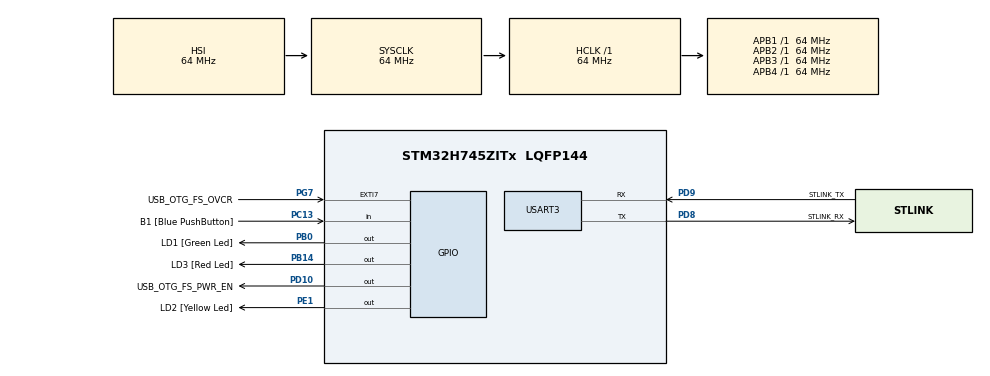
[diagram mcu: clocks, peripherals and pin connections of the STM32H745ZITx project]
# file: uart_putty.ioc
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CortexM4.IPs=FATFS_M4\:I,FREERTOS_M4\:I,IWDG2\:I,RCC,WWDG2\:I,DMA,BDMA,MDMA,NVIC2\:I,ETH,DEBUG,PDM2PCM_M4\:I,PWR,RESMGR_UTILITY,SYS_M4\:I,USB_DEVICE_M4\:I,USB_HOST_M4\:I,CORTEX_M4\:I,OPENAMP_M4\:I,VREFBUF
CortexM7.IPs=FATFS_M7\:I,FREERTOS_M7\:I,IWDG1\:I,RCC\:I,WWDG1\:I,DMA\:I,BDMA\:I,MDMA\:I,NVIC1\:I,SYS\:I,USART3\:I,USB_OTG_FS\:I,ETH\:I,CORTEX_M7\:I,DEBUG\:I,PDM2PCM_M7\:I,PWR\:I,RESMGR_UTILITY\:I,USB_DEVICE_M7\:I,USB_HOST_M7\:I,OPENAMP_M7\:I,VREFBUF\:I
Mcu.Family=STM32H7
Mcu.Name=STM32H745ZITx
Mcu.Package=LQFP144
NVIC1.PriorityGroup=NVIC_PRIORITYGROUP_4
NVIC2.PriorityGroup=NVIC_PRIORITYGROUP_4
PA1.PinAttribute=CortexM7
PA1.Signal=ETH_REF_CLK
PA11.PinAttribute=CortexM7
PA11.Signal=USB_OTG_FS_DM
PA12.PinAttribute=CortexM7
PA12.Signal=USB_OTG_FS_DP
PA2.PinAttribute=CortexM7
PA2.Signal=ETH_MDIO
PA7.PinAttribute=CortexM7
PA7.Signal=ETH_CRS_DV
PA8.PinAttribute=CortexM7
PA8.Signal=USB_OTG_FS_SOF
PA9.PinAttribute=CortexM7
PA9.Signal=USB_OTG_FS_VBUS
PB0.GPIO_Label=LD1 [Green Led]
PB0.PinAttribute=Free
PB0.Signal=GPIO_Output
PB13.PinAttribute=CortexM7
PB13.Signal=ETH_TXD1
PB14.GPIO_Label=LD3 [Red Led]
PB14.PinAttribute=Free
PB14.Signal=GPIO_Output
PC1.PinAttribute=CortexM7
PC1.Signal=ETH_MDC
PC13.GPIO_Label=B1 [Blue PushButton]
PC13.PinAttribute=Free
PC13.Signal=GPIO_Input
PC14-OSC32_IN\ (OSC32_IN).PinAttribute=CortexM7
PC14-OSC32_IN\ (OSC32_IN).Signal=RCC_OSC32_IN
PC15-OSC32_OUT\ (OSC32_OUT).PinAttribute=CortexM7
PC15-OSC32_OUT\ (OSC32_OUT).Signal=RCC_OSC32_OUT
PC4.PinAttribute=CortexM7
PC4.Signal=ETH_RXD0
PC5.PinAttribute=CortexM7
PC5.Signal=ETH_RXD1
PD10.GPIO_Label=USB_OTG_FS_PWR_EN
PD10.PinAttribute=Free
PD10.Signal=GPIO_Output
PD8.GPIO_Label=STLINK_RX
PD8.Mode=Asynchronous
PD8.PinAttribute=CortexM7
PD8.Signal=USART3_TX
PD9.GPIO_Label=STLINK_TX
PD9.Mode=Asynchronous
PD9.PinAttribute=CortexM7
PD9.Signal=USART3_RX
PE1.GPIO_Label=LD2 [Yellow Led]
PE1.PinAttribute=Free
PE1.Signal=GPIO_Output
PG11.PinAttribute=CortexM7
PG11.Signal=ETH_TX_EN
PG13.PinAttribute=CortexM7
PG13.Signal=ETH_TXD0
PG7.GPIO_Label=USB_OTG_FS_OVCR
PG7.PinAttribute=Free
PG7.Signal=GPXTI7
PH0-OSC_IN\ (PH0).PinAttribute=CortexM7
PH0-OSC_IN\ (PH0).Signal=RCC_OSC_IN
PH1-OSC_OUT\ (PH1).PinAttribute=CortexM7
PH1-OSC_OUT\ (PH1).Signal=RCC_OSC_OUT
ProjectManager.HeapSize=0x200
ProjectManager.StackSize=0x400
ProjectManager.TargetToolchain=STM32CubeIDE
RCC.ADCFreq_Value=129000000
RCC.APB1Freq_Value=64000000
RCC.APB2Freq_Value=64000000
RCC.APB3Freq_Value=64000000
RCC.APB4Freq_Value=64000000
RCC.CortexFreq_Value=64000000
RCC.DIVM1=18
RCC.DIVM3=22
RCC.DIVN3=169
RCC.DIVQ3=4
RCC.HCLKFreq_Value=64000000
RCC.PLL2FRACN=0
RCC.PLL3FRACN=0
RCC.PLLFRACN=0
RCC.SYSCLKFreq_VALUE=64000000
RCC.SupplySource=PWR_DIRECT_SMPS_SUPPLY
RCC.USBCLockSelection=RCC_USBCLKSOURCE_PLL3
RCC.USBFreq_Value=122909090.9090909
USART3.VirtualMode-Asynchronous=VM_ASYNC
VP_SYS_M4_VS_Systick.Mode=SysTick
board=NUCLEO-H745ZI-Q

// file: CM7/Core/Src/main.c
/* USER CODE BEGIN Header */
/**
 ******************************************************************************
 * @file           : main.c
 * @brief          : Main program body
 ******************************************************************************
 * @attention
 *
 * <h2><center>&copy; Copyright (c) 2022 STMicroelectronics.
 * All rights reserved.</center></h2>
 *
 * This software component is licensed by ST under BSD 3-Clause license,
 * the "License"; You may not use this file except in compliance with the
 * License. You may obtain a copy of the License at:
 *                        opensource.org/licenses/BSD-3-Clause
 *
 ******************************************************************************
 */
/* USER CODE END Header */
#include "main.h"

/* USER CODE BEGIN Includes */
#include <stdio.h>
/* USER CODE END Includes */

/* USER CODE BEGIN PD */

#ifndef HSEM_ID_0
#define HSEM_ID_0 (0U) /* HW semaphore 0*/
#endif
/* USER CODE END PD */

UART_HandleTypeDef huart3;

/* USER CODE BEGIN PV */
char snprintf_buf[128];
/* USER CODE END PV */

void SystemClock_Config(void);
static void MX_GPIO_Init(void);
static void MX_USART3_UART_Init(void);
/* USER CODE BEGIN PFP */
// #include "stdio.h"

#undef PUTCHAR_PROTOTYPE
#undef GETCHAR_PROTOTYPE
#ifdef __GNUC__
#define PUTCHAR_PROTOTYPE int __io_putchar(int ch)
#define GETCHAR_PROTOTYPE int __io_getchar(FILE *f)
#else
#define PUTCHAR_PROTOTYPE int fputc(int ch, FILE *f)
#define GETCHAR_PROTOTYPE int fgetc(FILE *f)
#endif

// HAL库
PUTCHAR_PROTOTYPE {
    HAL_UART_Transmit(&huart3, (uint8_t *)&ch, 1, HAL_MAX_DELAY);
    return ch;
}

GETCHAR_PROTOTYPE {
    uint8_t ch;
    HAL_UART_Receive(&huart3, (uint8_t *)&ch, 1, HAL_MAX_DELAY);
    return ch;
}
/* USER CODE END PFP */

int main(void) {
    /* USER CODE BEGIN Boot_Mode_Sequence_0 */
    int32_t timeout;
    /* USER CODE END Boot_Mode_Sequence_0 */

    /* USER CODE BEGIN Boot_Mode_Sequence_1 */
    /* Wait until CPU2 boots and enters in stop mode or timeout*/
    timeout = 0xFFFF;
    while ((__HAL_RCC_GET_FLAG(RCC_FLAG_D2CKRDY) != RESET) && (timeout-- > 0))
        ;
    if (timeout < 0) {
        Error_Handler();
    }
    /* USER CODE END Boot_Mode_Sequence_1 */
    /* MCU Configuration--------------------------------------------------------*/

    /* Reset of all peripherals, Initializes the Flash interface and the Systick. */
    HAL_Init();

    /* Configure the system clock */
    SystemClock_Config();
    /* USER CODE BEGIN Boot_Mode_Sequence_2 */
    /* When system initialization is finished, Cortex-M7 will release Cortex-M4 by means of
    HSEM notification */
    /*HW semaphore Clock enable*/
    __HAL_RCC_HSEM_CLK_ENABLE();
    /*Take HSEM */
    HAL_HSEM_FastTake(HSEM_ID_0);
    /*Release HSEM in order to notify the CPU2(CM4)*/
    HAL_HSEM_Release(HSEM_ID_0, 0);
    /* wait until CPU2 wakes up from stop mode */
    timeout = 0xFFFF;
    while ((__HAL_RCC_GET_FLAG(RCC_FLAG_D2CKRDY) == RESET) && (timeout-- > 0))
        ;
    if (timeout < 0) {
        Error_Handler();
    }
    /* USER CODE END Boot_Mode_Sequence_2 */

    /* Initialize all configured peripherals */
    MX_GPIO_Init();
    MX_USART3_UART_Init();

    /* Infinite loop */
    /* USER CODE BEGIN WHILE */
    HAL_UART_Transmit(&huart3, (uint8_t *)"Hello World !\r\n", sizeof("Hello World !\r\n") - 1,
                      HAL_MAX_DELAY);
    uint32_t expected_tick = HAL_GetTick() + 1000;
    uint32_t sec = 0;
    uint8_t rb;
    uint8_t test[10];
    uint32_t nbytes;
    char c[30];
    while (1) {
        /* USER CODE END WHILE */

        /* USER CODE BEGIN 3 */
        // if (scanf("%s", &c)) {
        //     expected_tick = HAL_GetTick() + 1000;
        //     sec = 0;
        //     printf("%s %s\r\n", "gecha: ", &c);
        //     printf("TIME RESET\r\n");
        // }

        // if (HAL_OK == HAL_UART_Receive(&huart3, &rb, 1, 100)) {
        if (HAL_OK == HAL_UART_Receive(&huart3, test, 1, 100)) {
            expected_tick = HAL_GetTick() + 1000;
            sec = 0;
            char tmp[10];
            snprintf(tmp, "%d", test);
            /*nbytes = snprintf(snprintf_buf, sizeof(snprintf_buf), "TIME RESET %c !\r\n", rb);
             HAL_UART_Transmit(&huart3, (uint8_t*)snprintf_buf, nbytes, HAL_MAX_DELAY);*/
            HAL_UART_Transmit(&huart3, (uint8_t *)"gecha: ", sizeof("gecha: ") - 1, HAL_MAX_DELAY);
            printf(tmp);
            //            HAL_UART_Transmit(&huart3, (uint8_t *)rb, 1, HAL_MAX_DELAY);
            HAL_UART_Transmit(&huart3, (uint8_t *)"TIME RESET\r\n", sizeof("TIME RESET\r\n") - 1,
                              HAL_MAX_DELAY);
        }
        if (HAL_GetTick() > expected_tick) {
            sec++;
            // nbytes = snprintf(snprintf_buf, sizeof(snprintf_buf),
            //                   "This program runs since %lu seconds ago\r\n", sec);
            printf("This program runs since %lu seconds ago\r\n", sec);
            // HAL_UART_Transmit(&huart3, (uint8_t *)snprintf_buf, nbytes, HAL_MAX_DELAY);
            expected_tick += 1000;
        }
    }
    /* USER CODE END 3 */
}

void SystemClock_Config(void) {
    RCC_OscInitTypeDef RCC_OscInitStruct = {0};
    RCC_ClkInitTypeDef RCC_ClkInitStruct = {0};
    RCC_PeriphCLKInitTypeDef PeriphClkInitStruct = {0};

    /** Supply configuration update enable
     */
    HAL_PWREx_ConfigSupply(PWR_DIRECT_SMPS_SUPPLY);
    /** Configure the main internal regulator output voltage
     */
    __HAL_PWR_VOLTAGESCALING_CONFIG(PWR_REGULATOR_VOLTAGE_SCALE3);

    while (!__HAL_PWR_GET_FLAG(PWR_FLAG_VOSRDY)) {
    }
    /** Initializes the RCC Oscillators according to the specified parameters
     * in the RCC_OscInitTypeDef structure.
     */
    RCC_OscInitStruct.OscillatorType = RCC_OSCILLATORTYPE_HSI;
    RCC_OscInitStruct.HSIState = RCC_HSI_DIV1;
    RCC_OscInitStruct.HSICalibrationValue = RCC_HSICALIBRATION_DEFAULT;
    RCC_OscInitStruct.PLL.PLLState = RCC_PLL_NONE;
    if (HAL_RCC_OscConfig(&RCC_OscInitStruct) != HAL_OK) {
        Error_Handler();
    }
    /** Initializes the CPU, AHB and APB buses clocks
     */
    RCC_ClkInitStruct.ClockType = RCC_CLOCKTYPE_HCLK | RCC_CLOCKTYPE_SYSCLK | RCC_CLOCKTYPE_PCLK1 |
                                  RCC_CLOCKTYPE_PCLK2 | RCC_CLOCKTYPE_D3PCLK1 |
                                  RCC_CLOCKTYPE_D1PCLK1;
    RCC_ClkInitStruct.SYSCLKSource = RCC_SYSCLKSOURCE_HSI;
    RCC_ClkInitStruct.SYSCLKDivider = RCC_SYSCLK_DIV1;
    RCC_ClkInitStruct.AHBCLKDivider = RCC_HCLK_DIV1;
    RCC_ClkInitStruct.APB3CLKDivider = RCC_APB3_DIV1;
    RCC_ClkInitStruct.APB1CLKDivider = RCC_APB1_DIV1;
    RCC_ClkInitStruct.APB2CLKDivider = RCC_APB2_DIV1;
    RCC_ClkInitStruct.APB4CLKDivider = RCC_APB4_DIV1;

    if (HAL_RCC_ClockConfig(&RCC_ClkInitStruct, FLASH_LATENCY_0) != HAL_OK) {
        Error_Handler();
    }
    PeriphClkInitStruct.PeriphClockSelection = RCC_PERIPHCLK_USART3;
    PeriphClkInitStruct.Usart234578ClockSelection = RCC_USART234578CLKSOURCE_D2PCLK1;
    if (HAL_RCCEx_PeriphCLKConfig(&PeriphClkInitStruct) != HAL_OK) {
        Error_Handler();
    }
}

static void MX_USART3_UART_Init(void) {

    huart3.Instance = USART3;
    huart3.Init.BaudRate = 115200;
    huart3.Init.WordLength = UART_WORDLENGTH_8B;
    huart3.Init.StopBits = UART_STOPBITS_1;
    huart3.Init.Parity = UART_PARITY_NONE;
    huart3.Init.Mode = UART_MODE_TX_RX;
    huart3.Init.HwFlowCtl = UART_HWCONTROL_NONE;
    huart3.Init.OverSampling = UART_OVERSAMPLING_16;
    huart3.Init.OneBitSampling = UART_ONE_BIT_SAMPLE_DISABLE;
    huart3.Init.ClockPrescaler = UART_PRESCALER_DIV1;
    huart3.AdvancedInit.AdvFeatureInit = UART_ADVFEATURE_NO_INIT;
    if (HAL_UART_Init(&huart3) != HAL_OK) {
        Error_Handler();
    }
    if (HAL_UARTEx_SetTxFifoThreshold(&huart3, UART_TXFIFO_THRESHOLD_1_8) != HAL_OK) {
        Error_Handler();
    }
    if (HAL_UARTEx_SetRxFifoThreshold(&huart3, UART_RXFIFO_THRESHOLD_1_8) != HAL_OK) {
        Error_Handler();
    }
    if (HAL_UARTEx_DisableFifoMode(&huart3) != HAL_OK) {
        Error_Handler();
    }
}

static void MX_GPIO_Init(void) {
    GPIO_InitTypeDef GPIO_InitStruct = {0};

    /* GPIO Ports Clock Enable */
    __HAL_RCC_GPIOC_CLK_ENABLE();
    __HAL_RCC_GPIOH_CLK_ENABLE();
    __HAL_RCC_GPIOA_CLK_ENABLE();
    __HAL_RCC_GPIOB_CLK_ENABLE();
    __HAL_RCC_GPIOD_CLK_ENABLE();
    __HAL_RCC_GPIOG_CLK_ENABLE();

    /*Configure GPIO pins : PC1 PC4 PC5 */
    GPIO_InitStruct.Pin = GPIO_PIN_1 | GPIO_PIN_4 | GPIO_PIN_5;
    GPIO_InitStruct.Mode = GPIO_MODE_AF_PP;
    GPIO_InitStruct.Pull = GPIO_NOPULL;
    GPIO_InitStruct.Speed = GPIO_SPEED_FREQ_LOW;
    GPIO_InitStruct.Alternate = GPIO_AF11_ETH;
    HAL_GPIO_Init(GPIOC, &GPIO_InitStruct);

    /*Configure GPIO pins : PA1 PA2 PA7 */
    GPIO_InitStruct.Pin = GPIO_PIN_1 | GPIO_PIN_2 | GPIO_PIN_7;
    GPIO_InitStruct.Mode = GPIO_MODE_AF_PP;
    GPIO_InitStruct.Pull = GPIO_NOPULL;
    GPIO_InitStruct.Speed = GPIO_SPEED_FREQ_LOW;
    GPIO_InitStruct.Alternate = GPIO_AF11_ETH;
    HAL_GPIO_Init(GPIOA, &GPIO_InitStruct);

    /*Configure GPIO pin : PB13 */
    GPIO_InitStruct.Pin = GPIO_PIN_13;
    GPIO_InitStruct.Mode = GPIO_MODE_AF_PP;
    GPIO_InitStruct.Pull = GPIO_NOPULL;
    GPIO_InitStruct.Speed = GPIO_SPEED_FREQ_LOW;
    GPIO_InitStruct.Alternate = GPIO_AF11_ETH;
    HAL_GPIO_Init(GPIOB, &GPIO_InitStruct);

    /*Configure GPIO pins : PA8 PA11 PA12 */
    GPIO_InitStruct.Pin = GPIO_PIN_8 | GPIO_PIN_11 | GPIO_PIN_12;
    GPIO_InitStruct.Mode = GPIO_MODE_AF_PP;
    GPIO_InitStruct.Pull = GPIO_NOPULL;
    GPIO_InitStruct.Speed = GPIO_SPEED_FREQ_LOW;
    GPIO_InitStruct.Alternate = GPIO_AF10_OTG1_FS;
    HAL_GPIO_Init(GPIOA, &GPIO_InitStruct);

    /*Configure GPIO pins : PG11 PG13 */
    GPIO_InitStruct.Pin = GPIO_PIN_11 | GPIO_PIN_13;
    GPIO_InitStruct.Mode = GPIO_MODE_AF_PP;
    GPIO_InitStruct.Pull = GPIO_NOPULL;
    GPIO_InitStruct.Speed = GPIO_SPEED_FREQ_LOW;
    GPIO_InitStruct.Alternate = GPIO_AF11_ETH;
    HAL_GPIO_Init(GPIOG, &GPIO_InitStruct);
}

void Error_Handler(void) {
    __disable_irq();
    while (1) {
    }
}

/************************ (C) COPYRIGHT STMicroelectronics *****END OF FILE****/
